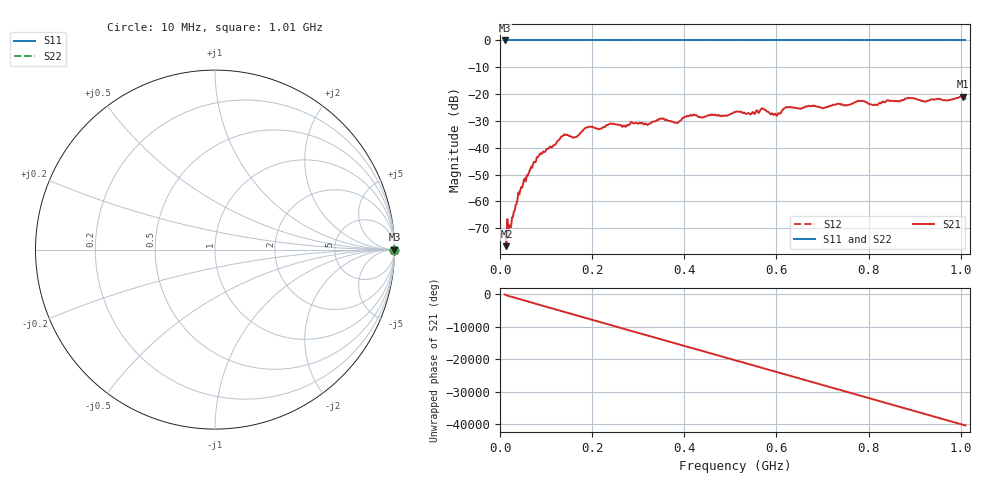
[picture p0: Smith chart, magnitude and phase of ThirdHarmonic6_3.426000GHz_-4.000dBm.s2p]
! 8/17/2025 11:00:18 AM
! C:\ANRITSUVNA\TEMP\TEMP.S2P
! CHANNEL.1
! TR.MEASUREMENT
! RAW.DATA
! RF.CORRECTION.OFF
! AVERAGING.OFF
! IF.BANDWIDTH: 5KHZ
! SWEEPTYPE:  FREQ.SWEEP(Linear)
! Reference Plane Port Info
! PORT:  PORT1  PORT2
! DISTANCE:  0  m  0  m
! TIME:  0  s  0  s
! PHASE.OFFSET:  0  deg.  0  deg.
! LOSS:  0  dB  0  dB
! REF.LOSS:  0  dB  0  dB
! REF.FREQ:  0  Hz  0  Hz
! Power Info
! POWER:  -20  dBm  -20  dBm
! EFF.POWER:  -20  dBm  -20  dBm
! SOURCE.ATTEN:  0  dB  0  dB
! TEST.ATTEN:  0  dB  0  dB
# GHZ S RI R 50.0
! FREQ.GHZ  S11RE  S11IM  S21RE  S21IM  S12RE  S12IM  S22RE  S22IM
!; PortSelection: Port_12
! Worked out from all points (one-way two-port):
!   501 points, 10 MHz to 1.01 GHz, reference 50 ohm
!   highest |S21| = -20.98 dB at 1.004 GHz (marker M1); lowest = -76.7 dB at 14 MHz (marker M2)
!   lowest |S11| = 0.0 dB at 10 MHz (marker M3)
!   |S11| at or under -10 dB: nowhere
!   |S22| runs from 0.0 to 0.0 dB; largest |S21 - S12| = 1.1
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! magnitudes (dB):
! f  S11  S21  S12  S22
! 10 MHz  0.0  -72.2  0.0  0.0
! 14 MHz  0.0  -76.7  0.0  0.0
! 22 MHz  0.0  -69.4  0.0  0.0
! 50 MHz  0.0  -53.7  0.0  0.0
! 84 MHz  0.0  -43.0  0.0  0.0
! 136 MHz  0.0  -35.7  0.0  0.0
! 162 MHz  0.0  -36.1  0.0  0.0
! 178 MHz  0.0  -33.9  0.0  0.0
! 192 MHz  0.0  -32.2  0.0  0.0
! 344 MHz  0.0  -29.6  0.0  0.0
! 382 MHz  0.0  -30.7  0.0  0.0
! 418 MHz  0.0  -28.0  0.0  0.0
! 510 MHz  0.0  -26.6  0.0  0.0
! 570 MHz  0.0  -25.4  0.0  0.0
! 598 MHz  0.0  -27.3  0.0  0.0
! 622 MHz  0.0  -24.9  0.0  0.0
! 678 MHz  0.0  -24.3  0.0  0.0
! 782 MHz  0.0  -22.6  0.0  0.0
! 814 MHz  0.0  -23.9  0.0  0.0
! 844 MHz  0.0  -22.4  0.0  0.0
! 1.004 GHz  0.0  -21.0  0.0  0.0
! 1.01 GHz  0.0  -21.6  0.0  0.0
